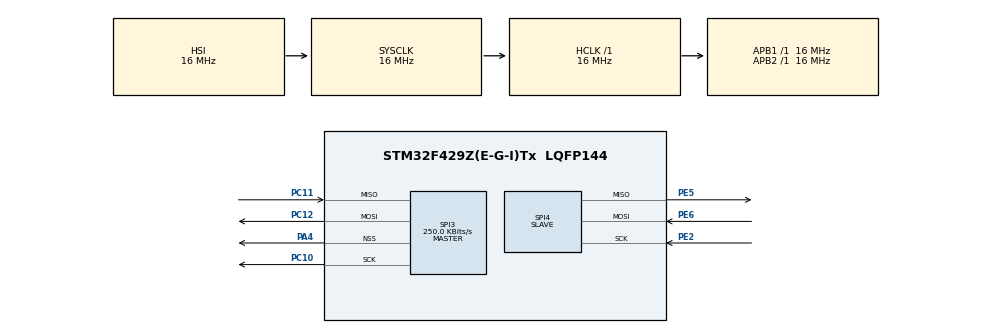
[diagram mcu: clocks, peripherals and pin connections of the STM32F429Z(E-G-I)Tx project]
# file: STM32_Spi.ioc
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Mcu.Family=STM32F4
Mcu.Name=STM32F429Z(E-G-I)Tx
Mcu.Package=LQFP144
NVIC.PriorityGroup=NVIC_PRIORITYGROUP_4
NVIC.SPI3_IRQn=true\:0\:0\:false\:false\:true\:true
NVIC.SPI4_IRQn=true\:0\:0\:false\:false\:true\:true
PA13.Mode=Serial_Wire
PA13.Signal=SYS_JTMS-SWDIO
PA14.Mode=Serial_Wire
PA14.Signal=SYS_JTCK-SWCLK
PA4.Mode=NSS_Signal_Hard_Output
PA4.Signal=SPI3_NSS
PC10.Mode=Full_Duplex_Master
PC10.Signal=SPI3_SCK
PC11.Mode=Full_Duplex_Master
PC11.Signal=SPI3_MISO
PC12.Mode=Full_Duplex_Master
PC12.Signal=SPI3_MOSI
PE2.Mode=Full_Duplex_Slave
PE2.Signal=SPI4_SCK
PE5.Mode=Full_Duplex_Slave
PE5.Signal=SPI4_MISO
PE6.Mode=Full_Duplex_Slave
PE6.Signal=SPI4_MOSI
ProjectManager.HeapSize=0x200
ProjectManager.StackSize=0x400
ProjectManager.TargetToolchain=SW4STM32
RCC.AHBFreq_Value=16000000
RCC.APB1Freq_Value=16000000
RCC.APB1TimFreq_Value=16000000
RCC.APB2Freq_Value=16000000
RCC.APB2TimFreq_Value=16000000
RCC.CortexFreq_Value=16000000
RCC.HCLKFreq_Value=16000000
RCC.HSE_VALUE=25000000
RCC.HSI_VALUE=16000000
RCC.LSE_VALUE=32768
RCC.SYSCLKFreq_VALUE=16000000
RCC.VCOOutputFreq_Value=192000000
SPI3.BaudRatePrescaler=SPI_BAUDRATEPRESCALER_64
SPI3.CalculateBaudRate=250.0 KBits/s
SPI3.Direction=SPI_DIRECTION_2LINES
SPI3.Mode=SPI_MODE_MASTER
SPI3.VirtualNSS=VM_NSSHARD
SPI3.VirtualType=VM_MASTER
SPI4.Direction=SPI_DIRECTION_2LINES
SPI4.Mode=SPI_MODE_SLAVE
SPI4.VirtualType=VM_SLAVE
board=STM32_Spi

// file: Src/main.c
/**
  ******************************************************************************
  * File Name          : main.c
  * Description        : Main program body
  ******************************************************************************
  ** This notice applies to any and all portions of this file
  * that are not between comment pairs USER CODE BEGIN and
  * USER CODE END. Other portions of this file, whether
  * inserted by the user or by software development tools
  * are owned by their respective copyright owners.
  *
  * COPYRIGHT(c) 2017 STMicroelectronics
  *
  * Redistribution and use in source and binary forms, with or without modification,
  * are permitted provided that the following conditions are met:
  *   1. Redistributions of source code must retain the above copyright notice,
  *      this list of conditions and the following disclaimer.
  *   2. Redistributions in binary form must reproduce the above copyright notice,
  *      this list of conditions and the following disclaimer in the documentation
  *      and/or other materials provided with the distribution.
  *   3. Neither the name of STMicroelectronics nor the names of its contributors
  *      may be used to endorse or promote products derived from this software
  *      without specific prior written permission.
  *
  * THIS SOFTWARE IS PROVIDED BY THE COPYRIGHT HOLDERS AND CONTRIBUTORS "AS IS"
  * AND ANY EXPRESS OR IMPLIED WARRANTIES, INCLUDING, BUT NOT LIMITED TO, THE
  * IMPLIED WARRANTIES OF MERCHANTABILITY AND FITNESS FOR A PARTICULAR PURPOSE ARE
  * DISCLAIMED. IN NO EVENT SHALL THE COPYRIGHT HOLDER OR CONTRIBUTORS BE LIABLE
  * FOR ANY DIRECT, INDIRECT, INCIDENTAL, SPECIAL, EXEMPLARY, OR CONSEQUENTIAL
  * DAMAGES (INCLUDING, BUT NOT LIMITED TO, PROCUREMENT OF SUBSTITUTE GOODS OR
  * SERVICES; LOSS OF USE, DATA, OR PROFITS; OR BUSINESS INTERRUPTION) HOWEVER
  * CAUSED AND ON ANY THEORY OF LIABILITY, WHETHER IN CONTRACT, STRICT LIABILITY,
  * OR TORT (INCLUDING NEGLIGENCE OR OTHERWISE) ARISING IN ANY WAY OUT OF THE USE
  * OF THIS SOFTWARE, EVEN IF ADVISED OF THE POSSIBILITY OF SUCH DAMAGE.
  *
  ******************************************************************************
  */
#include "main.h"
#include "stm32f4xx_hal.h"

SPI_HandleTypeDef hspi3;
SPI_HandleTypeDef hspi4;

/* USER CODE BEGIN PV */
/* Private variables ---------------------------------------------------------*/

/* USER CODE END PV */

void SystemClock_Config(void);
static void MX_GPIO_Init(void);
static void MX_SPI3_Init(void);
static void MX_SPI4_Init(void);

/* USER CODE BEGIN PFP */
/* Private function prototypes -----------------------------------------------*/

/* USER CODE END PFP */

int main(void)
{

  /* USER CODE BEGIN 1 */
	uint8_t txBuffer[] = {0x10,0x11,0x12,0x13};
	uint8_t slaverxBuffer[8];
	uint8_t slavetxBuffer[] = {0x20,0x21,0x22,0x23};
	uint8_t rxBuffer[8];

  /* USER CODE END 1 */

  /* MCU Configuration----------------------------------------------------------*/

  /* Reset of all peripherals, Initializes the Flash interface and the Systick. */
  HAL_Init();

  /* Configure the system clock */
  SystemClock_Config();

  /* Initialize all configured peripherals */
  MX_GPIO_Init();
  MX_SPI3_Init();
  MX_SPI4_Init();

  /* Infinite loop */
  /* USER CODE BEGIN WHILE */
  while (1)
  {
	  int i;
	  volatile HAL_StatusTypeDef result;

	  result = HAL_SPI_TransmitReceive_IT(&hspi4,slavetxBuffer,slaverxBuffer,4);
	  	  	  if(result == HAL_ERROR){
	  	  		  while(1);
	  	  	  }

	   result =  HAL_SPI_TransmitReceive_IT(&hspi3,txBuffer,rxBuffer,4);
	  	  		  if(result == HAL_ERROR){
	  	  		 		  while(1);
	  	  		 	  }

	  HAL_Delay(500);

  	  result = HAL_SPI_GetState(&hspi4);
	  for(i=0;i<4;i++){
	  rxBuffer[i] =0;
	  txBuffer[i] +=4;
	  }

  /* USER CODE END WHILE */

  }

}

/** System Clock Configuration
*/
void SystemClock_Config(void)
{

  RCC_OscInitTypeDef RCC_OscInitStruct;
  RCC_ClkInitTypeDef RCC_ClkInitStruct;

    /**Configure the main internal regulator output voltage
    */
  __HAL_RCC_PWR_CLK_ENABLE();

  __HAL_PWR_VOLTAGESCALING_CONFIG(PWR_REGULATOR_VOLTAGE_SCALE3);

    /**Initializes the CPU, AHB and APB busses clocks
    */
  RCC_OscInitStruct.OscillatorType = RCC_OSCILLATORTYPE_HSI;
  RCC_OscInitStruct.HSIState = RCC_HSI_ON;
  RCC_OscInitStruct.HSICalibrationValue = 16;
  RCC_OscInitStruct.PLL.PLLState = RCC_PLL_NONE;
  if (HAL_RCC_OscConfig(&RCC_OscInitStruct) != HAL_OK)
  {
    _Error_Handler(__FILE__, __LINE__);
  }

    /**Initializes the CPU, AHB and APB busses clocks
    */
  RCC_ClkInitStruct.ClockType = RCC_CLOCKTYPE_HCLK|RCC_CLOCKTYPE_SYSCLK
                              |RCC_CLOCKTYPE_PCLK1|RCC_CLOCKTYPE_PCLK2;
  RCC_ClkInitStruct.SYSCLKSource = RCC_SYSCLKSOURCE_HSI;
  RCC_ClkInitStruct.AHBCLKDivider = RCC_SYSCLK_DIV1;
  RCC_ClkInitStruct.APB1CLKDivider = RCC_HCLK_DIV1;
  RCC_ClkInitStruct.APB2CLKDivider = RCC_HCLK_DIV1;

  if (HAL_RCC_ClockConfig(&RCC_ClkInitStruct, FLASH_LATENCY_0) != HAL_OK)
  {
    _Error_Handler(__FILE__, __LINE__);
  }

    /**Configure the Systick interrupt time
    */
  HAL_SYSTICK_Config(HAL_RCC_GetHCLKFreq()/1000);

    /**Configure the Systick
    */
  HAL_SYSTICK_CLKSourceConfig(SYSTICK_CLKSOURCE_HCLK);

  /* SysTick_IRQn interrupt configuration */
  HAL_NVIC_SetPriority(SysTick_IRQn, 0, 0);
}

/* SPI3 init function */
static void MX_SPI3_Init(void)
{

  /* SPI3 parameter configuration*/
  hspi3.Instance = SPI3;
  hspi3.Init.Mode = SPI_MODE_MASTER;
  hspi3.Init.Direction = SPI_DIRECTION_2LINES;
  hspi3.Init.DataSize = SPI_DATASIZE_8BIT;
  hspi3.Init.CLKPolarity = SPI_POLARITY_LOW;
  hspi3.Init.CLKPhase = SPI_PHASE_1EDGE;
  hspi3.Init.NSS = SPI_NSS_HARD_OUTPUT;
  hspi3.Init.BaudRatePrescaler = SPI_BAUDRATEPRESCALER_64;
  hspi3.Init.FirstBit = SPI_FIRSTBIT_MSB;
  hspi3.Init.TIMode = SPI_TIMODE_DISABLE;
  hspi3.Init.CRCCalculation = SPI_CRCCALCULATION_DISABLE;
  hspi3.Init.CRCPolynomial = 10;
  if (HAL_SPI_Init(&hspi3) != HAL_OK)
  {
    _Error_Handler(__FILE__, __LINE__);
  }

}

/* SPI4 init function */
static void MX_SPI4_Init(void)
{

  /* SPI4 parameter configuration*/
  hspi4.Instance = SPI4;
  hspi4.Init.Mode = SPI_MODE_SLAVE;
  hspi4.Init.Direction = SPI_DIRECTION_2LINES;
  hspi4.Init.DataSize = SPI_DATASIZE_8BIT;
  hspi4.Init.CLKPolarity = SPI_POLARITY_LOW;
  hspi4.Init.CLKPhase = SPI_PHASE_1EDGE;
  hspi4.Init.NSS = SPI_NSS_SOFT;
  hspi4.Init.FirstBit = SPI_FIRSTBIT_MSB;
  hspi4.Init.TIMode = SPI_TIMODE_DISABLE;
  hspi4.Init.CRCCalculation = SPI_CRCCALCULATION_DISABLE;
  hspi4.Init.CRCPolynomial = 10;
  if (HAL_SPI_Init(&hspi4) != HAL_OK)
  {
    _Error_Handler(__FILE__, __LINE__);
  }

}

/** Configure pins as
        * Analog
        * Input
        * Output
        * EVENT_OUT
        * EXTI
*/
static void MX_GPIO_Init(void)
{

  /* GPIO Ports Clock Enable */
  __HAL_RCC_GPIOE_CLK_ENABLE();
  __HAL_RCC_GPIOA_CLK_ENABLE();
  __HAL_RCC_GPIOC_CLK_ENABLE();

}

void _Error_Handler(char * file, int line)
{
  while(1)
  {
  }
}

/************************ (C) COPYRIGHT STMicroelectronics *****END OF FILE****/
